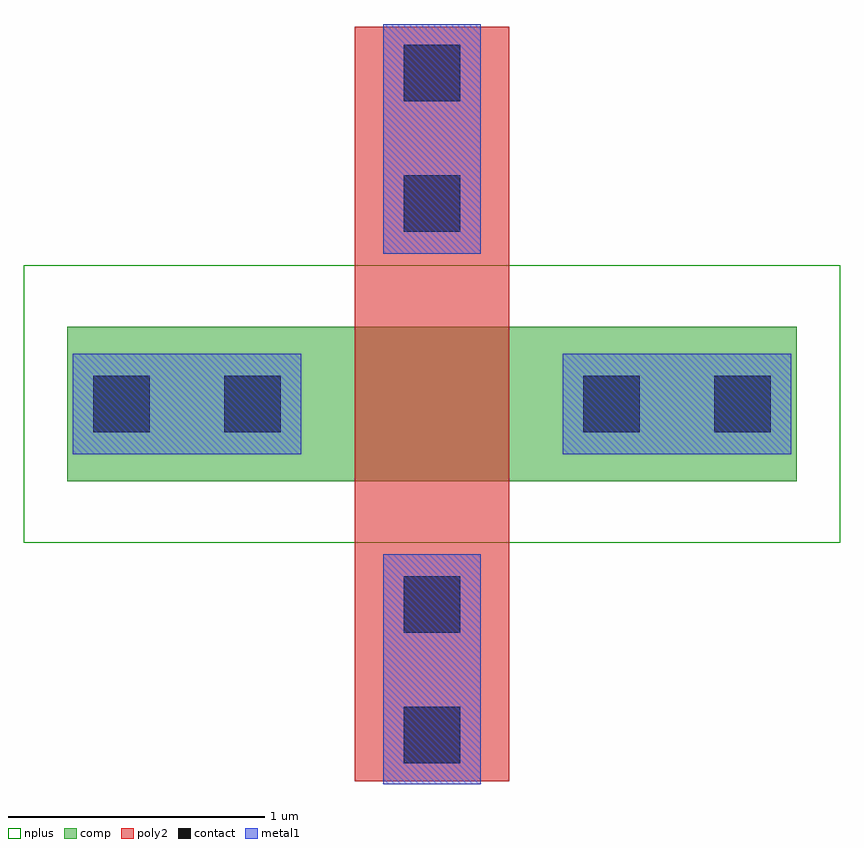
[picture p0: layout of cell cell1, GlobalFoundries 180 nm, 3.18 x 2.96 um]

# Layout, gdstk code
import gdstk
lib = gdstk.Library(unit=1e-6, precision=1e-09)
def R(c, l, rs):  # rectangles x0, y0, x1, y1
    for r in rs: c.add(gdstk.rectangle(r[:2], r[2:], *l))
comp = (22, 0)
poly2 = (30, 0)
nplus = (32, 0)
contact = (33, 0)
metal1 = (34, 0)

nfet = lib.new_cell('nfet')
R(nfet, comp, [(-0.42,0,0,0.6), (0,0,0.98,0.6), (0.98,0,1.4,0.6)])
R(nfet, poly2, [(0.19,-0.66,0.79,-0.3), (0.19,-0.3,0.79,0.9), (0.19,0.9,0.79,1.26)])
R(nfet, nplus, [(-0.59,-0.24,1.57,0.84)])
R(nfet, contact, [(0.38,-0.59,0.6,-0.37), (-0.32,0.19,-0.1,0.41), (1.08,0.19,1.3,0.41), (0.38,0.97,0.6,1.19)])
R(nfet, metal1, [(0.3,-0.671,0.68,-0.289), (-0.4,0.109,-0.02,0.491), (1,0.109,1.38,0.491), (0.3,0.889,0.68,1.271)])

cell1 = lib.new_cell('cell1')
R(cell1, comp, [(4.67,1.18,5.18,1.78), (7,1.18,7.51,1.78)])
R(cell1, poly2, [(5.79,0.01,6.39,0.52), (5.79,2.44,6.39,2.95)])
R(cell1, nplus, [(4.5,0.94,7.68,2.02)])
R(cell1, contact, [(5.98,0.08,6.2,0.3), (4.77,1.37,4.99,1.59), (7.19,1.37,7.41,1.59), (5.98,2.66,6.2,2.88)])
R(cell1, metal1, [(5.9,0,6.28,0.51), (5.9,0.885,6.28,0.895), (4.69,1.285,5.58,1.675), (6.6,1.285,7.49,1.675), (5.9,2.065,6.28,2.105), (5.9,2.45,6.28,2.96)])
cell1.add(gdstk.Reference(nfet, (5.6,1.18)))

lib.write_gds('cell1.gds')
